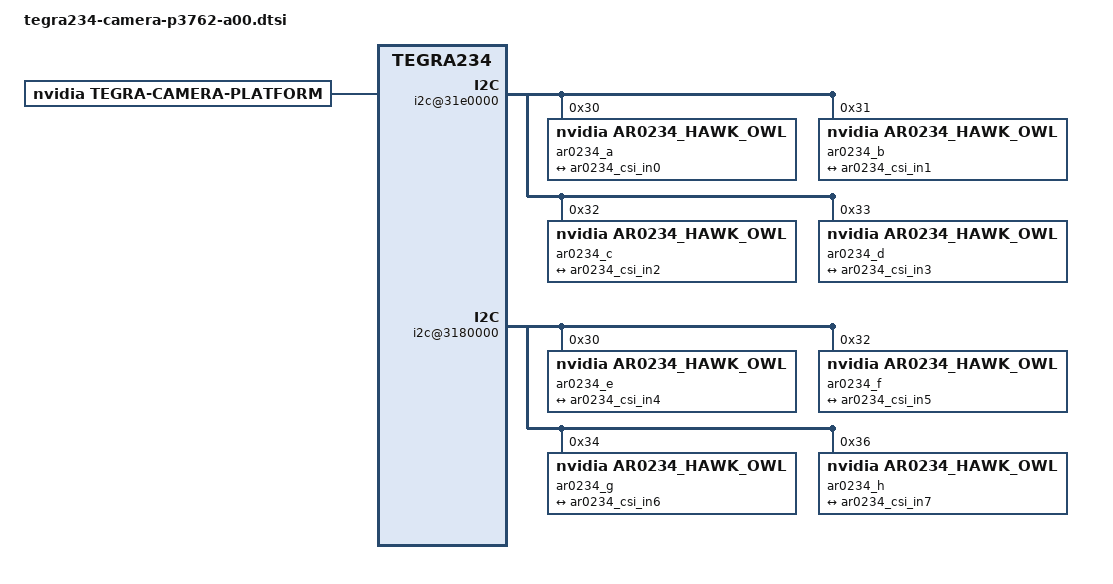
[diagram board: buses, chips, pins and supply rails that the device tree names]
/*
 * Copyright (c) 2018-2022, NVIDIA CORPORATION.  All rights reserved.
 *
 * This program is free software; you can redistribute it and/or modify
 * it under the terms of the GNU General Public License as published by
 * the Free Software Foundation; either version 2 of the License, or
 * (at your option) any later version.
 *
 * This program is distributed in the hope that it will be useful, but WITHOUT
 * ANY WARRANTY; without even the implied warranty of MERCHANTABILITY or
 * FITNESS FOR A PARTICULAR PURPOSE.  See the GNU General Public License for
 * more details.
 *
 * You should have received a copy of the GNU General Public License
 * along with this program.  If not, see <http://www.gnu.org/licenses/>.
 */
/* 8 camera module with Dual hawks and 4 Owls
 * HAWK1 - 2 ar0234 cameras - max96712 Aggregator 1 - GMSL0
 * HAWK2 - 2 ar0234 cameras - max96712 Aggregator 1 - GMSL1
 * OWL1  - 1 ar0234 camera  - max96712 Aggregator 2 - GMSL0
 * OWL2  - 1 ar0234 camera  - max96712 Aggregator 2 - GMSL0
 * OWL3  - 1 ar0234 camera  - max96712 Aggregator 2 - GMSL1
 * OWL4  - 1 ar0234 camera  - max96712 Aggregator 2 - GMSL1
 */
/ {
	tegra-capture-vi {
		num-channels = <8>;
		ports {
			#address-cells = <1>;
			#size-cells = <0>;
			port@0 {
				reg = <0>;
				ar0234_vi_in0: endpoint {
					vc-id = <0>;
					port-index = <0>;
					bus-width = <2>;
					remote-endpoint = <&ar0234_csi_out0>;
				};
			};
			port@1 {
				reg = <1>;
				ar0234_vi_in1: endpoint {
					vc-id = <1>;
					port-index = <0>;
					bus-width = <2>;
					remote-endpoint = <&ar0234_csi_out1>;
				};
			};
			port@2 {
				reg = <2>;
				ar0234_vi_in2: endpoint {
					vc-id = <0>;
					port-index = <1>;
					bus-width = <2>;
					remote-endpoint = <&ar0234_csi_out2>;
				};
			};
			port@3 {
				reg = <3>;
				ar0234_vi_in3: endpoint {
					vc-id = <1>;
					port-index = <1>;
					bus-width = <2>;
					remote-endpoint = <&ar0234_csi_out3>;
				};
			};
			port@4 {
				reg = <4>;
				ar0234_vi_in4: endpoint {
					vc-id = <0>;
					port-index = <4>;
					bus-width = <2>;
					remote-endpoint = <&ar0234_csi_out4>;
				};
			};
			port@5 {
				reg = <5>;
				ar0234_vi_in5: endpoint {
					vc-id = <1>;
					port-index = <4>;
					bus-width = <2>;
					remote-endpoint = <&ar0234_csi_out5>;
				};
			};
			port@6 {
				reg = <6>;
				ar0234_vi_in6: endpoint {
					vc-id = <2>;
					port-index = <4>;
					bus-width = <2>;
					remote-endpoint = <&ar0234_csi_out6>;
					};
			};
			port@7 {
				reg = <7>;
				ar0234_vi_in7: endpoint {
					vc-id = <3>;
					port-index = <4>;
					bus-width = <2>;
					remote-endpoint = <&ar0234_csi_out7>;
					};
				};
			};
		};
	host1x@13e00000 {
		nvcsi@15a00000 {
			num-channels = <8>;
			#address-cells = <1>;
			#size-cells = <0>;
			channel@0 {
				reg = <0>;
				ports {
					#address-cells = <1>;
					#size-cells = <0>;
					port@0 {
						reg = <0>;
						ar0234_csi_in0: endpoint@0 {
							port-index = <0>;
							bus-width = <2>;
							remote-endpoint = <&ar0234_ar0234_out0>;
						};
					};
					port@1 {
						reg = <1>;
						ar0234_csi_out0: endpoint@1 {
							remote-endpoint = <&ar0234_vi_in0>;
						};
					};
				};
			};
			channel@1 {
				reg = <1>;
				ports {
					#address-cells = <1>;
					#size-cells = <0>;
					port@0 {
						reg = <0>;
							ar0234_csi_in1: endpoint@2 {
							port-index = <0>;
							bus-width = <2>;
							remote-endpoint = <&ar0234_ar0234_out1>;
						};
					};
					port@1 {
						reg = <1>;
						ar0234_csi_out1: endpoint@3 {
							remote-endpoint = <&ar0234_vi_in1>;
						};
					};
				};
			};
			channel@2 {
				reg = <2>;
				ports {
					#address-cells = <1>;
					#size-cells = <0>;
					port@0 {
						reg = <0>;
						ar0234_csi_in2: endpoint@4 {
							port-index = <1>;
							bus-width = <2>;
							remote-endpoint = <&ar0234_ar0234_out2>;
						};
					};
					port@1 {
						reg = <1>;
						ar0234_csi_out2: endpoint@5 {
							remote-endpoint = <&ar0234_vi_in2>;
						};
					};
				};
			};
			channel@3 {
				reg = <3>;
				ports {
					#address-cells = <1>;
					#size-cells = <0>;
					port@0 {
						reg = <0>;
						ar0234_csi_in3: endpoint@6 {
							port-index = <1>;
							bus-width = <2>;
							remote-endpoint = <&ar0234_ar0234_out3>;
						};
					};
					port@1 {
						reg = <1>;
						ar0234_csi_out3: endpoint@7 {
							remote-endpoint = <&ar0234_vi_in3>;
						};
					};
				};
			};
			channel@4 {
				reg = <4>;
				ports {
					#address-cells = <1>;
					#size-cells = <0>;
					port@0 {
						reg = <0>;
						ar0234_csi_in4: endpoint@8 {
							port-index = <4>;
							bus-width = <2>;
							remote-endpoint = <&ar0234_ar0234_out4>;
						};
					};
					port@1 {
						reg = <1>;
						ar0234_csi_out4: endpoint@9 {
							remote-endpoint = <&ar0234_vi_in4>;
						};
					};
				};
			};
			channel@5 {
				reg = <5>;
				ports {
					#address-cells = <1>;
					#size-cells = <0>;
					port@0 {
						reg = <0>;
						ar0234_csi_in5: endpoint@10 {
							port-index = <4>;
							bus-width = <2>;
							remote-endpoint = <&ar0234_ar0234_out5>;
						};
					};
					port@1 {
						reg = <1>;
						ar0234_csi_out5: endpoint@11 {
							remote-endpoint = <&ar0234_vi_in5>;
						};
					};
				};
			};
			channel@6 {
				reg = <6>;
				ports {
					#address-cells = <1>;
					#size-cells = <0>;
					port@0 {
						reg = <0>;
						ar0234_csi_in6: endpoint@12 {
							port-index = <4>;
							bus-width = <2>;
							remote-endpoint = <&ar0234_ar0234_out6>;
						};
					};
					port@1 {
						reg = <1>;
						ar0234_csi_out6: endpoint@13 {
							remote-endpoint = <&ar0234_vi_in6>;
						};
					};
				};
			};
			channel@7 {
				reg = <7>;
				ports {
					#address-cells = <1>;
					#size-cells = <0>;
					port@0 {
						reg = <0>;
						ar0234_csi_in7: endpoint@14 {
							port-index = <4>;
							bus-width = <2>;
							remote-endpoint = <&ar0234_ar0234_out7>;
						};
					};
					port@1 {
						reg = <1>;
						ar0234_csi_out7: endpoint@15 {
							remote-endpoint = <&ar0234_vi_in7>;
						};
					};
				};
			};
		};
	};

	/*i2c8*/
	i2c@31e0000 {
		ar0234_a@30 {
			compatible = "nvidia,ar0234_hawk_owl";
			reg = <0x30>;
			/* Physical dimensions of sensor */
			physical_w = "15.0";
			physical_h = "12.5";
			sensor_model ="ar0234";
			sync_sensor = "HAWK1";
			sync_sensor_index = <1>;
			/* Defines number of frames to be dropped by driver internally after applying */
			/* sensor crop settings. Some sensors send corrupt frames after applying */
			/* crop co-ordinates */
			post_crop_frame_drop = "0";
			/* enable CID_SENSOR_MODE_ID for sensor modes selection */
			use_sensor_mode_id = "true";
			/**
			 * A modeX node is required to support v4l2 driver
			 * implementation with NVIDIA camera software stack
			 *
			 * mclk_khz = "";
			 * Standard MIPI driving clock, typically 24MHz
			 *
			 * num_lanes = "";
			 * Number of lane channels sensor is programmed to output
			 *
			 * tegra_sinterface = "";
			 * The base tegra serial interface lanes are connected to
			 *
			 * vc_id = "";
			 * The virtual channel id of the sensor.
			 *
			 * discontinuous_clk = "";
			 * The sensor is programmed to use a discontinuous clock on MIPI lanes
			 *
			 * dpcm_enable = "true";
			 * The sensor is programmed to use a DPCM modes
			 *
			 * cil_settletime = "";
			 * MIPI lane settle time value.
			 * A "0" value attempts to autocalibrate based on mclk_khz and pix_clk_hz
			 *
			 * active_w = "";
			 * Pixel active region width
			 *
			 * active_h = "";
			 * Pixel active region height
			 *
			 * dynamic_pixel_bit_depth = "";
			 * sensor dynamic bit depth for sensor mode
			 *
			 * csi_pixel_bit_depth = "";
			 * sensor output bit depth for sensor mode
			 *
			 * mode_type="";
			 * Sensor mode type, For eg: yuv, Rgb, bayer, bayer_wdr_pwl
			 *
			 * pixel_phase="";
			 * Pixel phase for sensor mode, For eg: rggb, vyuy, rgb888
			 *
			 * readout_orientation = "0";
			 * Based on camera module orientation.
			 * Only change readout_orientation if you specifically
			 * Program a different readout order for this mode
			 *
			 * line_length = "";
			 * Pixel line length (width) for sensor mode.
			 * This is used to calibrate features in our camera stack.
			 *
			 * pix_clk_hz = "";
			 * Sensor pixel clock used for calculations like exposure and framerate
			 *
			 *
			 *
			 *
			 * inherent_gain = "";
			 * Gain obtained inherently from mode (ie. pixel binning)
			 *
			 * min_gain_val = ""; (floor to 6 decimal places)
			 * max_gain_val = ""; (floor to 6 decimal places)
			 * Gain limits for mode
			 * if use_decibel_gain = "true", please set the gain as decibel
			 *
			 * min_exp_time = ""; (ceil to integer)
			 * max_exp_time = ""; (ceil to integer)
			 * Exposure Time limits for mode (us)
			 *
			 *
			 * min_hdr_ratio = "";
			 * max_hdr_ratio = "";
			 * HDR Ratio limits for mode
			 *
			 * min_framerate = "";
			 * max_framerate = "";
			 * Framerate limits for mode (fps)
			 *
			 * embedded_metadata_height = "";
			 * Sensor embedded metadata height in units of rows.
			 * If sensor does not support embedded metadata value should be 0.
			 */
			 mode0 {/*mode IMX424_MODE_3840X1080_CROP_30FPS*/
				 mclk_khz = "24000";
				 num_lanes = "2";
				 tegra_sinterface = "serial_a";
				 phy_mode = "DPHY";
				 vc_id = "0";
				 discontinuous_clk = "no";
				 dpcm_enable = "false";
				 cil_settletime = "0";
				 dynamic_pixel_bit_depth = "10";
				 csi_pixel_bit_depth = "10";
				 mode_type = "bayer";
				 pixel_phase = "grbg";
				 active_w = "1920";
				 active_h = "1200";
				 readout_orientation = "0";
				 line_length = "2448";
				 inherent_gain = "1";
				 mclk_multiplier = "3.01";
				 pix_clk_hz = "134400000";
				 serdes_pix_clk_hz = "299000000";
				 gain_factor = "100";
				 min_gain_val = "100"; /* dB */
				 max_gain_val = "1600"; /* dB */
				 step_gain_val = "1"; /* 0.1 */
				 default_gain = "100";
				 min_hdr_ratio = "1";
				 max_hdr_ratio = "1";
				 framerate_factor = "1000000";
				 min_framerate = "30000000";
				 max_framerate = "30000000";
				 step_framerate = "30000000";
				 default_framerate = "30000000";
				 exposure_factor = "1000000";
				 min_exp_time = "28"; /*us, 2 lines*/
				 max_exp_time = "22000";
				 step_exp_time = "1";
				 default_exp_time = "22000";/* us */
				 embedded_metadata_height = "0";
			 };
			 ports {
				#address-cells = <1>;
				#size-cells = <0>;
				 port@0 {
					 reg = <0>;
					 ar0234_ar0234_out0: endpoint {
						vc-id = <0>;
						port-index = <0>;
						bus-width = <2>;
						remote-endpoint = <&ar0234_csi_in0>;
						};
					};
				};
			};
		ar0234_b@31 {
			compatible = "nvidia,ar0234_hawk_owl";
			reg = <0x31>;
			/* Physical dimensions of sensor */
			physical_w = "15.0";
			physical_h = "12.5";
			sensor_model ="ar0234";
			sync_sensor = "HAWK1";
			sync_sensor_index = <2>;
			/* Defines number of frames to be dropped by driver internally after applying */
			/* sensor crop settings. Some sensors send corrupt frames after applying */
			/* crop co-ordinates */
			post_crop_frame_drop = "0";
			/* enable CID_SENSOR_MODE_ID for sensor modes selection */
			use_sensor_mode_id = "true";
			mode0 {/*mode IMX424_MODE_3840X1080_CROP_30FPS*/
				mclk_khz = "24000";
				num_lanes = "2";
				tegra_sinterface = "serial_a";
				vc_id = "1";
				discontinuous_clk = "no";
				dpcm_enable = "false";
				cil_settletime = "0";
				dynamic_pixel_bit_depth = "10";
				csi_pixel_bit_depth = "10";
				mode_type = "bayer";
				pixel_phase = "grbg";
				active_w = "1920";
				active_h = "1200";
				readout_orientation = "0";
				line_length = "2448";
				inherent_gain = "1";
				mclk_multiplier = "3.01";
				pix_clk_hz = "134400000";
				serdes_pix_clk_hz = "299000000";
				gain_factor = "100";
				min_gain_val = "100"; /* dB */
				max_gain_val = "1600"; /* dB */
				step_gain_val = "1"; /* 0.1 */
				default_gain = "100";
				min_hdr_ratio = "1";
				max_hdr_ratio = "1";
				framerate_factor = "1000000";
				min_framerate = "30000000";
				max_framerate = "30000000";
				step_framerate = "30000000";
				default_framerate = "30000000";
				exposure_factor = "1000000";
				min_exp_time = "28"; /*us, 2 lines*/
				max_exp_time = "22000";
				step_exp_time = "1";
				default_exp_time = "22000";/* us */
				embedded_metadata_height = "0";
			};
			ports {
				#address-cells = <1>;
				#size-cells = <0>;
				port@0 {
					reg = <0>;
					ar0234_ar0234_out1: endpoint {
						vc-id = <1>;
						port-index = <0>;
						bus-width = <2>;
						remote-endpoint = <&ar0234_csi_in1>;
						};
					};
				};
			};
		ar0234_c@32 {
			compatible = "nvidia,ar0234_hawk_owl";
			reg = <0x32>;
			/* Physical dimensions of sensor */
			physical_w = "15.0";
			physical_h = "12.5";
			sensor_model ="ar0234";
			sync_sensor = "HAWK2";
			sync_sensor_index = <1>;
			/* Defines number of frames to be dropped by driver internally after applying */
			/* sensor crop settings. Some sensors send corrupt frames after applying */
			/* crop co-ordinates */
			post_crop_frame_drop = "0";
			/* enable CID_SENSOR_MODE_ID for sensor modes selection */
			use_sensor_mode_id = "true";
			mode0 {/*mode IMX424_MODE_3840X1080_CROP_30FPS*/
				mclk_khz = "24000";
				num_lanes = "2";
				tegra_sinterface = "serial_b";
				vc_id = "0";
				discontinuous_clk = "no";
				dpcm_enable = "false";
				cil_settletime = "0";
				dynamic_pixel_bit_depth = "10";
				csi_pixel_bit_depth = "10";
				mode_type = "bayer";
				pixel_phase = "grbg";
				active_w = "1920";
				active_h = "1200";
				readout_orientation = "0";
				line_length = "2448";
				inherent_gain = "1";
				mclk_multiplier = "3.01";
				pix_clk_hz = "134400000";
				serdes_pix_clk_hz = "299000000";
				gain_factor = "100";
				min_gain_val = "100"; /* dB */
				max_gain_val = "1600"; /* dB */
				step_gain_val = "1"; /* 0.1 */
				default_gain = "100";
				min_hdr_ratio = "1";
				max_hdr_ratio = "1";
				framerate_factor = "1000000";
				min_framerate = "30000000";
				max_framerate = "30000000";
				step_framerate = "30000000";
				default_framerate = "30000000";
				exposure_factor = "1000000";
				min_exp_time = "28"; /*us, 2 lines*/
				max_exp_time = "22000";
				step_exp_time = "1";
				default_exp_time = "22000";/* us */
				embedded_metadata_height = "0";
			};
			ports {
				#address-cells = <1>;
				#size-cells = <0>;
				port@0 {
					reg = <0>;
					ar0234_ar0234_out2: endpoint {
						vc-id = <0>;
						port-index = <1>;
						bus-width = <2>;
						remote-endpoint = <&ar0234_csi_in2>;
						};
					};
				};
			};
		ar0234_d@33 {
			compatible = "nvidia,ar0234_hawk_owl";
			reg = <0x33>;
			/* Physical dimensions of sensor */
			physical_w = "15.0";
			physical_h = "12.5";
			sensor_model ="ar0234";
			sync_sensor = "HAWK2";
			sync_sensor_index = <2>;
			/* Defines number of frames to be dropped by driver internally after applying */
			/* sensor crop settings. Some sensors send corrupt frames after applying */
			/* crop co-ordinates */
			post_crop_frame_drop = "0";
			/* enable CID_SENSOR_MODE_ID for sensor modes selection */
			use_sensor_mode_id = "true";
			mode0 {/*mode IMX424_MODE_3840X1080_CROP_30FPS*/
				mclk_khz = "24000";
				num_lanes = "2";
				tegra_sinterface = "serial_b";
				vc_id = "1";
				discontinuous_clk = "no";
				dpcm_enable = "false";
				cil_settletime = "0";
				dynamic_pixel_bit_depth = "10";
				csi_pixel_bit_depth = "10";
				mode_type = "bayer";
				pixel_phase = "grbg";
				active_w = "1920";
				active_h = "1200";
				readout_orientation = "0";
				line_length = "2448";
				inherent_gain = "1";
				mclk_multiplier = "3.01";
				pix_clk_hz = "134400000";
				serdes_pix_clk_hz = "299000000";
				gain_factor = "100";
				min_gain_val = "100"; /* dB */
				max_gain_val = "1600"; /* dB */
				step_gain_val = "1"; /* 0.1 */
				default_gain = "100";
				min_hdr_ratio = "1";
				max_hdr_ratio = "1";
				framerate_factor = "1000000";
				min_framerate = "30000000";
				max_framerate = "30000000";
				step_framerate = "30000000";
				default_framerate = "30000000";
				exposure_factor = "1000000";
				min_exp_time = "28"; /*us, 2 lines*/
				max_exp_time = "22000";
				step_exp_time = "1";
				default_exp_time = "22000";/* us */
				embedded_metadata_height = "0";
			};
			ports {
				#address-cells = <1>;
				#size-cells = <0>;
				port@0 {
					reg = <0>;
					ar0234_ar0234_out3: endpoint {
						vc-id = <1>;
						port-index = <1>;
						bus-width = <2>;
						remote-endpoint = <&ar0234_csi_in3>;
						};
					};
				};
			};
		};
	i2c@3180000 {
		ar0234_e@30 {
			compatible = "nvidia,ar0234_hawk_owl";
			reg = <0x30>;
			/* Physical dimensions of sensor */
			physical_w = "15.0";
			physical_h = "12.5";
			sensor_model ="ar0234";
			sync_sensor = "OWL1";
			sync_sensor_index = <1>;
			/* Defines number of frames to be dropped by driver internally after applying */
			/* sensor crop settings. Some sensors send corrupt frames after applying */
			/* crop co-ordinates */
			post_crop_frame_drop = "0";
			/* enable CID_SENSOR_MODE_ID for sensor modes selection */
			use_sensor_mode_id = "true";
			mode0 {/*mode IMX424_MODE_3840X1080_CROP_30FPS*/
				mclk_khz = "24000";
				num_lanes = "2";
				tegra_sinterface = "serial_e";
				vc_id = "0";
				discontinuous_clk = "no";
				dpcm_enable = "false";
				cil_settletime = "0";
				dynamic_pixel_bit_depth = "10";
				csi_pixel_bit_depth = "10";
				mode_type = "bayer";
				pixel_phase = "grbg";
				active_w = "1920";
				active_h = "1200";
				readout_orientation = "0";
				line_length = "2448";
				inherent_gain = "1";
				mclk_multiplier = "3.01";
				pix_clk_hz = "134400000";
				serdes_pix_clk_hz = "299000000";
				gain_factor = "100";
				min_gain_val = "100"; /* dB */
				max_gain_val = "1600"; /* dB */
				step_gain_val = "1"; /* 0.1 */
				default_gain = "100";
				min_hdr_ratio = "1";
				max_hdr_ratio = "1";
				framerate_factor = "1000000";
				min_framerate = "30000000";
				max_framerate = "30000000";
				step_framerate = "30000000";
				default_framerate = "30000000";
				exposure_factor = "1000000";
				min_exp_time = "28"; /*us, 2 lines*/
				max_exp_time = "22000";
				step_exp_time = "1";
				default_exp_time = "22000";/* us */
				embedded_metadata_height = "0";
			};
			ports {
				#address-cells = <1>;
				#size-cells = <0>;
				port@0 {
					reg = <0>;
					ar0234_ar0234_out4: endpoint {
						vc-id = <0>;
						port-index = <4>;
						bus-width = <2>;
						remote-endpoint = <&ar0234_csi_in4>;
						};
					};
				};
			};
		ar0234_f@32 {
			compatible = "nvidia,ar0234_hawk_owl";
			reg = <0x32>;
			/* Physical dimensions of sensor */
			physical_w = "15.0";
			physical_h = "12.5";
			sensor_model ="ar0234";
			sync_sensor = "OWL2";
			sync_sensor_index = <1>;
			/* Defines number of frames to be dropped by driver internally after applying */
			/* sensor crop settings. Some sensors send corrupt frames after applying */
			/* crop co-ordinates */
			post_crop_frame_drop = "0";
			/* enable CID_SENSOR_MODE_ID for sensor modes selection */
			use_sensor_mode_id = "true";
			mode0 {/*mode IMX424_MODE_3840X1080_CROP_30FPS*/
				mclk_khz = "24000";
				num_lanes = "2";
				tegra_sinterface = "serial_e";
				vc_id = "1";
				discontinuous_clk = "no";
				dpcm_enable = "false";
				cil_settletime = "0";
				dynamic_pixel_bit_depth = "10";
				csi_pixel_bit_depth = "10";
				mode_type = "bayer";
				pixel_phase = "grbg";
				active_w = "1920";
				active_h = "1200";
				readout_orientation = "0";
				line_length = "2448";
				inherent_gain = "1";
				mclk_multiplier = "3.01";
				pix_clk_hz = "134400000";
				serdes_pix_clk_hz = "299000000";
				gain_factor = "100";
				min_gain_val = "100"; /* dB */
				max_gain_val = "1600"; /* dB */
				step_gain_val = "1"; /* 0.1 */
				default_gain = "100";
				min_hdr_ratio = "1";
				max_hdr_ratio = "1";
				framerate_factor = "1000000";
				min_framerate = "30000000";
				max_framerate = "30000000";
				step_framerate = "30000000";
				default_framerate = "30000000";
				exposure_factor = "1000000";
				min_exp_time = "28"; /*us, 2 lines*/
				max_exp_time = "22000";
				step_exp_time = "1";
				default_exp_time = "22000";/* us */
				embedded_metadata_height = "0";
			};
			ports {
				#address-cells = <1>;
				#size-cells = <0>;
				port@0 {
					reg = <0>;
					ar0234_ar0234_out5: endpoint {
						vc-id = <1>;
						port-index = <4>;
						bus-width = <2>;
						remote-endpoint = <&ar0234_csi_in5>;
						};
					};
				};
			};
		ar0234_g@34 {
			compatible = "nvidia,ar0234_hawk_owl";
			reg = <0x34>;
			/* Physical dimensions of sensor */
			physical_w = "15.0";
			physical_h = "12.5";
			sensor_model ="ar0234";
			sync_sensor = "OWL3";
			sync_sensor_index = <1>;
			/* Defines number of frames to be dropped by driver internally after applying */
			/* sensor crop settings. Some sensors send corrupt frames after applying */
			/* crop co-ordinates */
			post_crop_frame_drop = "0";
			/* enable CID_SENSOR_MODE_ID for sensor modes selection */
			use_sensor_mode_id = "true";
			mode0 {/*mode IMX424_MODE_3840X1080_CROP_30FPS*/
				mclk_khz = "24000";
				num_lanes = "2";
				tegra_sinterface = "serial_e";
				vc_id = "2";
				discontinuous_clk = "no";
				dpcm_enable = "false";
				cil_settletime = "0";
				dynamic_pixel_bit_depth = "10";
				csi_pixel_bit_depth = "10";
				mode_type = "bayer";
				pixel_phase = "grbg";
				active_w = "1920";
				active_h = "1200";
				readout_orientation = "0";
				line_length = "2448";
				inherent_gain = "1";
				mclk_multiplier = "3.01";
				pix_clk_hz = "134400000";
				serdes_pix_clk_hz = "299000000";
				gain_factor = "100";
				min_gain_val = "100"; /* dB */
				max_gain_val = "1600"; /* dB */
				step_gain_val = "1"; /* 0.1 */
				default_gain = "100";
				min_hdr_ratio = "1";
				max_hdr_ratio = "1";
				framerate_factor = "1000000";
				min_framerate = "30000000";
				max_framerate = "30000000";
				step_framerate = "30000000";
				default_framerate = "30000000";
				exposure_factor = "1000000";
				min_exp_time = "28"; /*us, 2 lines*/
				max_exp_time = "22000";
				step_exp_time = "1";
				default_exp_time = "22000";/* us */
				embedded_metadata_height = "0";
			};
			ports {
				#address-cells = <1>;
				#size-cells = <0>;
				port@0 {
					reg = <0>;
					ar0234_ar0234_out6: endpoint {
						vc-id = <2>;
						port-index = <4>;
						bus-width = <2>;
						remote-endpoint = <&ar0234_csi_in6>;
						};
					};
				};
			};
		ar0234_h@36 {
			compatible = "nvidia,ar0234_hawk_owl";
			reg = <0x36>;
			/* Physical dimensions of sensor */
			physical_w = "15.0";
			physical_h = "12.5";
			sensor_model ="ar0234";
			sync_sensor = "OWL4";
			sync_sensor_index = <1>;
			/* Defines number of frames to be dropped by driver internally after applying */
			/* sensor crop settings. Some sensors send corrupt frames after applying */
			/* crop co-ordinates */
			post_crop_frame_drop = "0";
			/* enable CID_SENSOR_MODE_ID for sensor modes selection */
			use_sensor_mode_id = "true";
			mode0 {/*mode IMX424_MODE_3840X1080_CROP_30FPS*/
				mclk_khz = "24000";
				num_lanes = "2";
				tegra_sinterface = "serial_e";
				vc_id = "3";
				discontinuous_clk = "no";
				dpcm_enable = "false";
				cil_settletime = "0";
				dynamic_pixel_bit_depth = "10";
				csi_pixel_bit_depth = "10";
				mode_type = "bayer";
				pixel_phase = "grbg";
				active_w = "1920";
				active_h = "1200";
				readout_orientation = "0";
				line_length = "2448";
				inherent_gain = "1";
				mclk_multiplier = "3.01";
				pix_clk_hz = "134400000";
				serdes_pix_clk_hz = "299000000";
				gain_factor = "100";
				min_gain_val = "100"; /* dB */
				max_gain_val = "1600"; /* dB */
				step_gain_val = "1"; /* 0.1 */
				default_gain = "100";
				min_hdr_ratio = "1";
				max_hdr_ratio = "1";
				framerate_factor = "1000000";
				min_framerate = "30000000";
				max_framerate = "30000000";
				step_framerate = "30000000";
				default_framerate = "30000000";
				exposure_factor = "1000000";
				min_exp_time = "28"; /*us, 2 lines*/
				max_exp_time = "22000";
				step_exp_time = "1";
				default_exp_time = "22000";/* us */
				embedded_metadata_height = "0";
			};
			ports {
				#address-cells = <1>;
				#size-cells = <0>;
				port@0 {
					reg = <0>;
					ar0234_ar0234_out7: endpoint {
						vc-id = <3>;
						port-index = <4>;
						bus-width = <2>;
						remote-endpoint = <&ar0234_csi_in7>;
						};
					};
				};
			};
		};
};
/ {
	tegra-camera-platform {
		compatible = "nvidia, tegra-camera-platform";
		/**
		* Physical settings to calculate max ISO BW
		*
		* num_csi_lanes = <>;
		* Total number of CSI lanes when all cameras are active
		*
		* max_lane_speed = <>;
		* Max lane speed in Kbit/s
		*
		* min_bits_per_pixel = <>;
		* Min bits per pixel
		*
		* vi_peak_byte_per_pixel = <>;
		* Max byte per pixel for the VI ISO case
		*
		* vi_bw_margin_pct = <>;
		* Vi bandwidth margin in percentage
		*
		* max_pixel_rate = <>;
		* Max pixel rate in Kpixel/s for the ISP ISO case
		*
		* isp_peak_byte_per_pixel = <>;
		* Max byte per pixel for the ISP ISO case
		*
		* isp_bw_margin_pct = <>;
		* Isp bandwidth margin in percentage
		*/
		num_csi_lanes = <8>;
		max_lane_speed = <15000000>;
		min_bits_per_pixel = <10>;
		vi_peak_byte_per_pixel = <2>;
		vi_bw_margin_pct = <25>;
		isp_peak_byte_per_pixel = <5>;
		isp_bw_margin_pct = <25>;
		/**
		 * The general guideline for naming badge_info contains 3 parts, and is as follows,
		 * The first part is the camera_board_id for the module; if the module is in a FFD
		 * platform, then use the platform name for this part.
		 * The second part contains the position of the module, ex. "rear" or "front".
		 * The third part contains the last 6 characters of a part number which is found
		 * in the module's specsheet from the vender.
		 */
		modules {
			module0 {
				badge = "owl_bottomleft";
				position = "bottomleft";
				orientation = "1";
				drivernode0 {
					/* Declare PCL support driver (classically known as guid)  */
					pcl_id = "v4l2_sensor";
					/* Driver v4l2 device name */
					devname = "ar0234 2-0030";
					/* Declare the device-tree hierarchy to driver instance */
					proc-device-tree = "/proc/device-tree/i2c@3180000/ar0234_e@30";
				};
			};
			module1 {
				badge = "owl_centerleft";
				position = "centerleft";
				orientation = "1";
				drivernode0 {
					pcl_id = "v4l2_sensor";
					devname = "ar0234 2-0032";
					proc-device-tree = "/proc/device-tree/i2c@3180000/ar0234_f@32";
				};
			};
			module2 {
				badge = "owl_centerright";
				position = "centerright";
				orientation = "1";
				drivernode0 {
					pcl_id = "v4l2_sensor";
					devname = "ar0234 2-0034";
					proc-device-tree = "/proc/device-tree/i2c@3180000/ar0234_g@34";
				};
			};
			module3 {
				badge = "owl_topleft";
				position = "topleft";
				orientation = "1";
				drivernode0 {
					pcl_id = "v4l2_sensor";
					devname = "ar0234 2-0036";
					proc-device-tree = "/proc/device-tree/i2c@3180000/ar0234_h@36";
				};
			};
			module4 {
				badge = "hawk_bottomright";
				position = "bottomright";
				orientation = "1";
				drivernode0 {
					pcl_id = "v4l2_sensor";
					devname = "ar0234 8-0030";
					proc-device-tree = "/proc/device-tree/i2c@31e0000/ar0234_a@30";
				};
			};
			module5 {
				badge = "hawk_topright";
				position = "topright";
				orientation = "1";
				drivernode0 {
					pcl_id = "v4l2_sensor";
					devname = "ar0234 8-0031";
					proc-device-tree = "/proc/device-tree/i2c@31e0000/ar0234_b@31";
				};
			};
			module6 {
				badge = "hawk_bottomcenter";
				position = "bottomcenter";
				orientation = "1";
				drivernode0 {
					pcl_id = "v4l2_sensor";
					devname = "ar0234 8-0032";
					proc-device-tree = "/proc/device-tree/i2c@31e0000/ar0234_c@32";
				};
			};
			module7 {
				badge = "hawk_topcenter";
				position = "topcenter";
				orientation = "1";
				drivernode0 {
					pcl_id = "v4l2_sensor";
					devname = "ar0234 8-0033";
					proc-device-tree = "/proc/device-tree/i2c@31e0000/ar0234_d@33";
				};
			};
		};
	};
};

